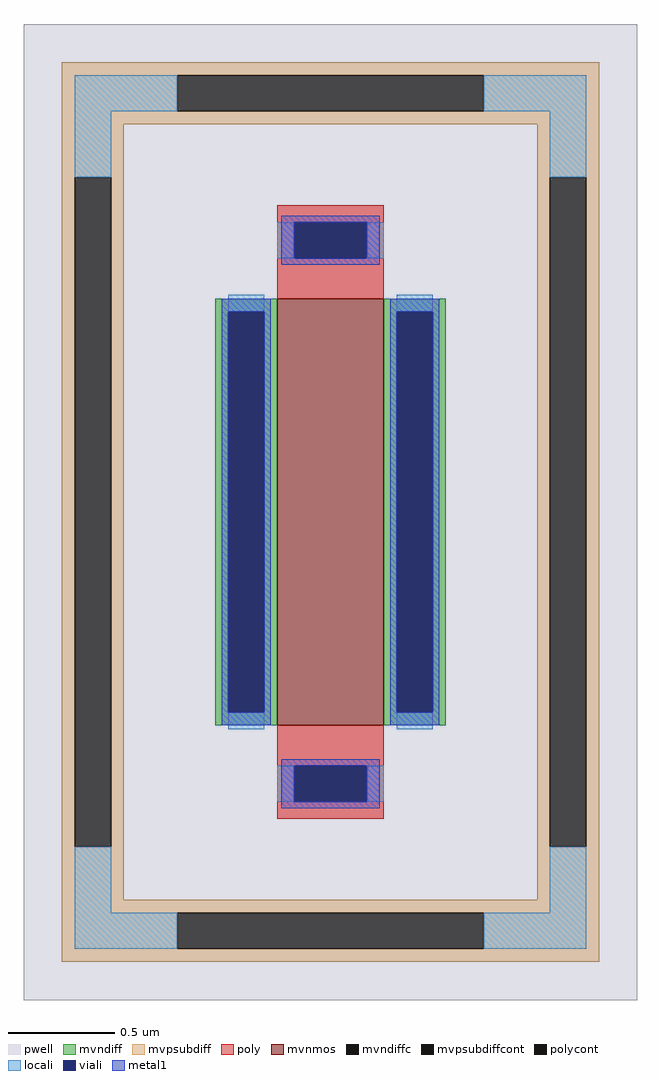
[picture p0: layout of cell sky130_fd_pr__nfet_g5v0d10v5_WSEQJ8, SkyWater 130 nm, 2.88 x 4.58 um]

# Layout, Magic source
magic
tech sky130A
<< pwell >>
rect -144 -229 144 229
<< mvnmos >>
rect -25 -100 25 100
<< mvndiff >>
rect -54 94 -25 100
rect -54 -94 -48 94
rect -31 -94 -25 94
rect -54 -100 -25 -94
rect 25 94 54 100
rect 25 -94 31 94
rect 48 -94 54 94
rect 25 -100 54 -94
<< mvndiffc >>
rect -48 -94 -31 94
rect 31 -94 48 94
<< mvpsubdiff >>
rect -126 205 126 211
rect -126 188 -72 205
rect 72 188 126 205
rect -126 182 126 188
rect -126 157 -97 182
rect -126 -157 -120 157
rect -103 -157 -97 157
rect 97 157 126 182
rect -126 -182 -97 -157
rect 97 -157 103 157
rect 120 -157 126 157
rect 97 -182 126 -157
rect -126 -188 126 -182
rect -126 -205 -72 -188
rect 72 -205 126 -188
rect -126 -211 126 -205
<< mvpsubdiffcont >>
rect -72 188 72 205
rect -120 -157 -103 157
rect 103 -157 120 157
rect -72 -205 72 -188
<< poly >>
rect -25 136 25 144
rect -25 119 -17 136
rect 17 119 25 136
rect -25 100 25 119
rect -25 -119 25 -100
rect -25 -136 -17 -119
rect 17 -136 25 -119
rect -25 -144 25 -136
<< polycont >>
rect -17 119 17 136
rect -17 -136 17 -119
<< locali >>
rect -120 188 -72 205
rect 72 188 120 205
rect -120 157 -103 188
rect 103 157 120 188
rect -25 119 -17 136
rect 17 119 25 136
rect -48 94 -31 102
rect -48 -102 -31 -94
rect 31 94 48 102
rect 31 -102 48 -94
rect -25 -136 -17 -119
rect 17 -136 25 -119
rect -120 -188 -103 -157
rect 103 -188 120 -157
rect -120 -205 -72 -188
rect 72 -205 120 -188
<< viali >>
rect -17 119 17 136
rect -48 -94 -31 94
rect 31 -94 48 94
rect -17 -136 17 -119
<< metal1 >>
rect -23 136 23 139
rect -23 119 -17 136
rect 17 119 23 136
rect -23 116 23 119
rect -51 94 -28 100
rect -51 -94 -48 94
rect -31 -94 -28 94
rect -51 -100 -28 -94
rect 28 94 51 100
rect 28 -94 31 94
rect 48 -94 51 94
rect 28 -100 51 -94
rect -23 -119 23 -116
rect -23 -136 -17 -119
rect 17 -136 23 -119
rect -23 -139 23 -136
<< properties >>
string FIXED_BBOX -106 -196 106 196
string gencell sky130_fd_pr__nfet_g5v0d10v5
string library sky130
string parameters w 2.0 l 0.5 m 1 nf 1 diffcov 100 polycov 100 guard 1 glc 1 grc 1 gtc 1 gbc 1 tbcov 100 rlcov 100 topc 1 botc 1 poverlap 0 doverlap 1 lmin 0.50 wmin 0.42 compatible {sky130_fd_pr__nfet_01v8 sky130_fd_pr__nfet_01v8_lvt  sky130_fd_bs_flash__special_sonosfet_star  sky130_fd_pr__nfet_g5v0d10v5 sky130_fd_pr__nfet_05v0_nvt  sky130_fd_pr__nfet_03v3_nvt} full_metal 1 viasrc 100 viadrn 100 viagate 100 viagb 0 viagr 0 viagl 0 viagt 0
<< end >>
